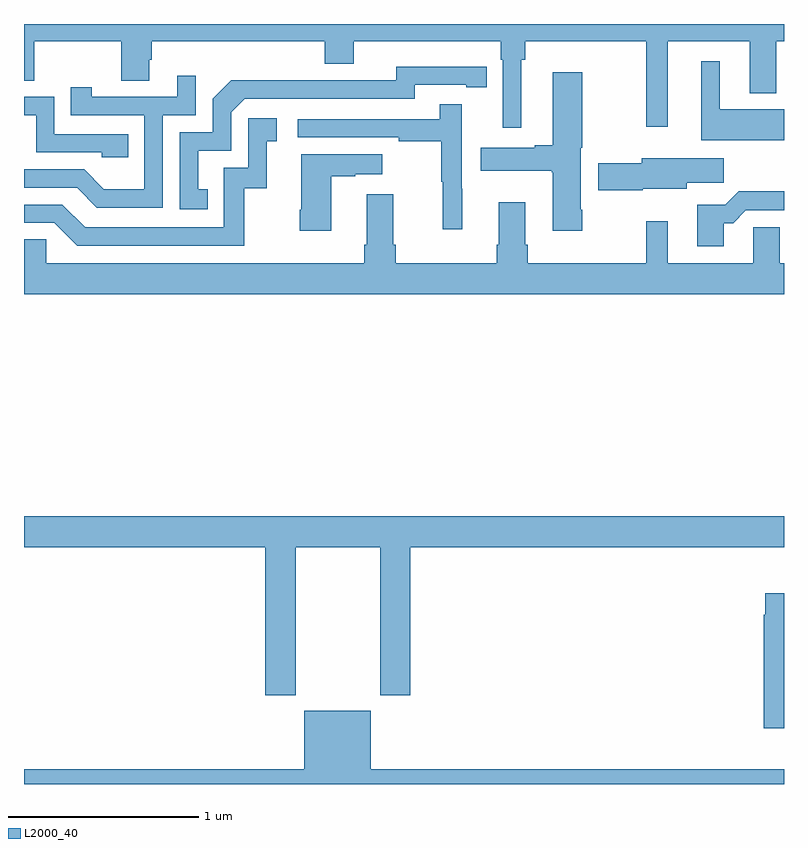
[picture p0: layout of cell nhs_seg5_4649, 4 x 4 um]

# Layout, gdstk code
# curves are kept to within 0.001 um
import gdstk
lib = gdstk.Library(unit=1e-6, precision=1e-09)
def P(c, l, *ps):  # polygons
    for p in ps: c.add(gdstk.Polygon(p, *l))
L2000_40 = (2000, 40)

nhs_seg5_4649 = lib.new_cell('nhs_seg5_4649')
P(nhs_seg5_4649, L2000_40, [(383,908.5),(383.055,908.5),(383.055,908.708),(383.512,908.708),(383.512,908.5),(383.659,908.5),(383.659,908.61),(383.672,908.61),(383.672,908.708),(384.584,908.708),(384.584,908.591),(384.736,908.591),(384.736,908.708),(385.508,908.708),(385.508,908.612),(385.521,908.612),(385.521,908.253),(385.618,908.253),(385.618,908.612),(385.637,908.612),(385.637,908.708),(386.275,908.708),(386.275,908.259),(386.389,908.259),(386.389,908.708),(386.819,908.708),(386.819,908.435),(386.959,908.435),(386.959,908.708),(387,908.708),(387,908.799),(383,908.799)],
  [(387,908.35),(386.662,908.35),(386.662,908.602),(386.564,908.602),(386.564,908.186),(387,908.186)],
  [(383.966,907.929),(383.917,907.929),(383.917,908.133),(384.09,908.133),(384.09,908.334),(384.162,908.406),(385.056,908.406),(385.056,908.478),(385.328,908.478),(385.328,908.466),(385.436,908.466),(385.436,908.574),(384.96,908.575),(384.96,908.502),(384.5,908.502),(384.5,908.504),(384.092,908.504),(383.994,908.406),(383.994,908.229),(383.82,908.229),(383.82,907.824),(383.966,907.824)],
  [(385.938,907.822),(385.93,907.822),(385.93,908.149),(385.938,908.149),(385.938,908.545),(385.784,908.545),(385.784,908.162),(385.688,908.162),(385.688,908.149),(385.404,908.149),(385.404,908.027),(385.777,908.027),(385.777,908.02),(385.784,908.02),(385.784,907.71),(385.938,907.71)],
  [(383.73,908.319),(383.904,908.319),(383.904,908.527),(383.807,908.527),(383.807,908.415),(383.356,908.415),(383.356,908.467),(383.245,908.467),(383.245,908.319),(383.634,908.319),(383.634,907.93),(383.42,907.93),(383.316,908.034),(383,908.034),(383,907.938),(383.279,907.938),(383.384,907.833),(383.73,907.833)],
  [(383.549,908.22),(383.16,908.22),(383.16,908.415),(383,908.415),(383,908.319),(383.064,908.319),(383.064,908.124),(383.409,908.124),(383.409,908.097),(383.549,908.097)],
  [(385.307,907.931),(385.305,907.931),(385.305,908.377),(385.189,908.377),(385.189,908.298),(384.441,908.298),(384.441,908.202),(384.973,908.202),(384.973,908.182),(385.197,908.182),(385.197,907.968),(385.204,907.968),(385.204,907.719),(385.307,907.719)],
  [(384.16,907.935),(384.278,907.935),(384.278,908.181),(384.331,908.181),(384.331,908.302),(384.18,908.302),(384.18,908.043),(384.051,908.043),(384.051,907.728),(383.322,907.728),(383.202,907.848),(383,907.848),(383,907.752),(383.16,907.752),(383.28,907.632),(384.16,907.632)],
  [(384.616,907.999),(384.743,907.999),(384.743,908.009),(384.886,908.009),(384.886,908.113),(384.458,908.113),(384.458,907.822),(384.451,907.822),(384.451,907.71),(384.616,907.71)],
  [(386.256,907.931),(386.488,907.931),(386.488,907.963),(386.683,907.963),(386.683,908.092),(386.252,908.092),(386.252,908.066),(386.022,908.066),(386.022,907.924),(386.256,907.924)],
  [(386.683,907.751),(386.732,907.751),(386.799,907.818),(387,907.818),(387,907.919),(386.762,907.919),(386.692,907.849),(386.543,907.849),(386.543,907.629),(386.683,907.629)],
  [(387,907.54),(386.977,907.54),(386.977,907.73),(386.838,907.73),(386.838,907.54),(386.389,907.54),(386.389,907.762),(386.275,907.762),(386.275,907.54),(385.652,907.54),(385.652,907.636),(385.639,907.636),(385.639,907.861),(385.499,907.861),(385.499,907.636),(385.487,907.636),(385.487,907.54),(384.956,907.54),(384.956,907.636),(384.943,907.636),(384.943,907.903),(384.803,907.903),(384.803,907.636),(384.791,907.636),(384.791,907.54),(383.118,907.54),(383.118,907.667),(383,907.667),(383,907.376),(387,907.376)],
  [(384.429,906.044),(384.874,906.044),(384.874,905.265),(385.034,905.265),(385.034,906.044),(387,906.044),(387,906.208),(383,906.208),(383,906.044),(384.269,906.044),(384.269,905.265),(384.429,905.265)],
  [(387,905.803),(386.901,905.803),(386.901,905.69),(386.893,905.69),(386.893,905.093),(387,905.093)],
  [(387,904.876),(384.826,904.876),(384.826,905.185),(384.476,905.185),(384.476,904.876),(383,904.876),(383,904.799),(387,904.799)])

lib.write_gds('nhs_seg5_4649.gds')
